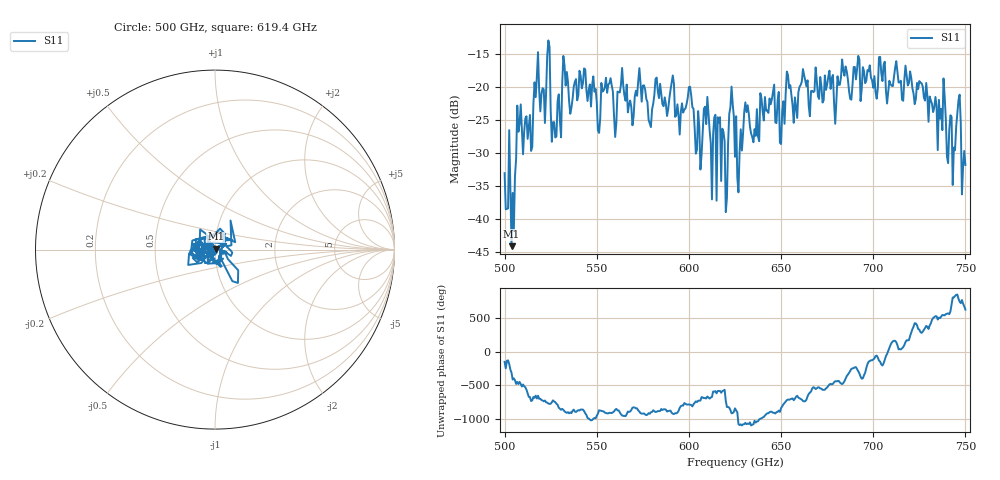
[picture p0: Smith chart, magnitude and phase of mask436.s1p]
!Created with skrf (http://scikit-rf.org).
# GHz S MA R 50.0
!freq magS11 angS11
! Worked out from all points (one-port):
!   401 points, 500 GHz to 750 GHz, reference 50 ohm
!   lowest |S11| = -44.2 dB at 503.8 GHz (marker M1), VSWR 1.01, Z = 50.4 + j0.449 ohm
!   |S11| at or under -10 dB: start of sweep to end of sweep
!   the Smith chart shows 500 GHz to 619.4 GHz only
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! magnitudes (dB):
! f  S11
! 500 GHz  -33.1
! 503.8 GHz  -44.2
! 508.1 GHz  -25.6
! 513.8 GHz  -24.3
! 517.5 GHz  -18.4
! 520.6 GHz  -20.2
! 523.8 GHz  -12.9
! 526.9 GHz  -25.3
! 531.2 GHz  -19.5
! 562.5 GHz  -20.8
! 579.4 GHz  -26.1
! 590.6 GHz  -19.4
! 593.8 GHz  -22.7
! 600.6 GHz  -20.0
! 605.6 GHz  -26.1
! 609.4 GHz  -25.6
! 620 GHz  -39.0
! 623.1 GHz  -20.0
! 625 GHz  -30.6
! 627.5 GHz  -29.9
! 631.2 GHz  -23.8
! 635 GHz  -28.4
! 656.2 GHz  -22.8
! 687.5 GHz  -21.8
! 718.8 GHz  -19.8
! 743.8 GHz  -29.2
! 746.2 GHz  -22.0
! 750 GHz  -31.9
